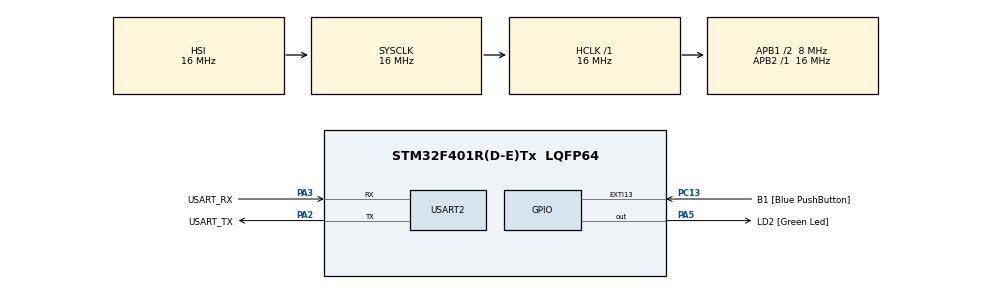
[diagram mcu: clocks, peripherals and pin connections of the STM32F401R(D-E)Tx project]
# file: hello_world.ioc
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Mcu.Family=STM32F4
Mcu.Name=STM32F401R(D-E)Tx
Mcu.Package=LQFP64
NVIC.PriorityGroup=NVIC_PRIORITYGROUP_4
NVIC.TIM5_IRQn=true\:0\:0\:false\:false\:true\:false\:true
NVIC.TimeBase=TIM5_IRQn
NVIC.TimeBaseIP=TIM5
PA13.GPIO_Label=TMS
PA13.Mode=Serial_Wire
PA13.Signal=SYS_JTMS-SWDIO
PA14.GPIO_Label=TCK
PA14.Mode=Serial_Wire
PA14.Signal=SYS_JTCK-SWCLK
PA2.GPIO_Label=USART_TX
PA2.GPIO_Mode=GPIO_MODE_AF_PP
PA2.GPIO_PuPd=GPIO_NOPULL
PA2.GPIO_Speed=GPIO_SPEED_FREQ_LOW
PA2.Mode=Asynchronous
PA2.Signal=USART2_TX
PA3.GPIO_Label=USART_RX
PA3.GPIO_Mode=GPIO_MODE_AF_PP
PA3.GPIO_PuPd=GPIO_NOPULL
PA3.GPIO_Speed=GPIO_SPEED_FREQ_LOW
PA3.Mode=Asynchronous
PA3.Signal=USART2_RX
PA5.GPIO_Label=LD2 [Green Led]
PA5.GPIO_Mode=GPIO_MODE_OUTPUT_PP
PA5.GPIO_PuPd=GPIO_NOPULL
PA5.GPIO_Speed=GPIO_SPEED_FREQ_LOW
PA5.Signal=GPIO_Output
PB3.GPIO_Label=SWO
PB3.Signal=SYS_JTDO-SWO
PC13-ANTI_TAMP.GPIO_Label=B1 [Blue PushButton]
PC13-ANTI_TAMP.GPIO_ModeDefaultEXTI=GPIO_MODE_IT_FALLING
PC13-ANTI_TAMP.GPIO_PuPd=GPIO_NOPULL
PC13-ANTI_TAMP.Signal=GPXTI13
PC14-OSC32_IN.Mode=LSE-External-Oscillator
PC14-OSC32_IN.Signal=RCC_OSC32_IN
PC15-OSC32_OUT.Mode=LSE-External-Oscillator
PC15-OSC32_OUT.Signal=RCC_OSC32_OUT
PH0\ -\ OSC_IN.Mode=HSE-External-Clock-Source
PH0\ -\ OSC_IN.Signal=RCC_OSC_IN
PH1\ -\ OSC_OUT.Mode=HSE-External-Clock-Source
PH1\ -\ OSC_OUT.Signal=RCC_OSC_OUT
ProjectManager.HeapSize=0x200
ProjectManager.StackSize=0x400
ProjectManager.TargetToolchain=STM32CubeIDE
RCC.48MHZClocksFreq_Value=48000000
RCC.AHBFreq_Value=16000000
RCC.APB1CLKDivider=RCC_HCLK_DIV2
RCC.APB1Freq_Value=8000000
RCC.APB1TimFreq_Value=16000000
RCC.APB2Freq_Value=16000000
RCC.APB2TimFreq_Value=16000000
RCC.CortexFreq_Value=16000000
RCC.HCLKFreq_Value=16000000
RCC.HSE_VALUE=8000000
RCC.HSI_VALUE=16000000
RCC.PLLN=336
RCC.PLLP=RCC_PLLP_DIV4
RCC.PLLQ=7
RCC.SYSCLKFreq_VALUE=16000000
RCC.VCOOutputFreq_Value=336000000
USART2.VirtualMode=VM_ASYNC
VP_SYS_VS_tim5.Mode=TIM5
board=NUCLEO-F401RE

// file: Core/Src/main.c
/* USER CODE BEGIN Header */
/**
 ******************************************************************************
 * @file           : main.c
 * @brief          : Main program body
 * @author			: Ashwin Jayakumar Pillai
 ******************************************************************************
 * @attention
 *
 * <h2><center>&copy; Copyright (c) 2021 STMicroelectronics.
 * All rights reserved.</center></h2>
 *
 * This software component is licensed by ST under BSD 3-Clause license,
 * the "License"; You may not use this file except in compliance with the
 * License. You may obtain a copy of the License at:
 *                        opensource.org/licenses/BSD-3-Clause
 *
 ******************************************************************************
 */
/* USER CODE END Header */
#include "main.h"

/* USER CODE BEGIN Includes */
#include <stdio.h>
#include "FreeRTOS.h"
#include "task.h"
/* USER CODE END Includes */

/* USER CODE BEGIN PM */
#define Enable_CCYNT				(*(volatile uint32_t*)0xE0001000)
/* USER CODE END PM */

UART_HandleTypeDef huart2;

void SystemClock_Config(void);
static void MX_GPIO_Init(void);
static void MX_USART2_UART_Init(void);
/* USER CODE BEGIN PFP */
static void task_handler1(void *para);
static void task_handler2(void *para);
/* USER CODE END PFP */

int main(void)
{
  /* USER CODE BEGIN 1 */
	TaskHandle_t task_handle1;
	TaskHandle_t task_handle2;
	BaseType_t stat;
  /* USER CODE END 1 */

  /* MCU Configuration--------------------------------------------------------*/

  /* Reset of all peripherals, Initializes the Flash interface and the Systick. */
  HAL_Init();

  /* Configure the system clock */
  SystemClock_Config();

  /* Initialize all configured peripherals */
  MX_GPIO_Init();
  MX_USART2_UART_Init();
  /* USER CODE BEGIN 2 */

  Enable_CCYNT |= (1 << 0); //Enabling time stamps for SEGGER

  SEGGER_SYSVIEW_Conf();
  SEGGER_SYSVIEW_Start();
	stat = xTaskCreate(task_handler1, "Task-1", 200, "Hello World from Task-1",	\
			2, &task_handle1);
	configASSERT(stat == pdPASS);
	stat = xTaskCreate(task_handler2, "Task-2", 200, "Hello World from Task-2",  \
			2, &task_handle2);
	configASSERT(stat == pdPASS);
    vTaskStartScheduler();
  /* USER CODE END 2 */

  /* Infinite loop */
	while (1) {

	}
}

void SystemClock_Config(void)
{
  RCC_OscInitTypeDef RCC_OscInitStruct = {0};
  RCC_ClkInitTypeDef RCC_ClkInitStruct = {0};

  /** Configure the main internal regulator output voltage
  */
  __HAL_RCC_PWR_CLK_ENABLE();
  __HAL_PWR_VOLTAGESCALING_CONFIG(PWR_REGULATOR_VOLTAGE_SCALE2);
  /** Initializes the RCC Oscillators according to the specified parameters
  * in the RCC_OscInitTypeDef structure.
  */
  RCC_OscInitStruct.OscillatorType = RCC_OSCILLATORTYPE_HSI;
  RCC_OscInitStruct.HSIState = RCC_HSI_ON;
  RCC_OscInitStruct.HSICalibrationValue = RCC_HSICALIBRATION_DEFAULT;
  RCC_OscInitStruct.PLL.PLLState = RCC_PLL_NONE;
  if (HAL_RCC_OscConfig(&RCC_OscInitStruct) != HAL_OK)
  {
    Error_Handler();
  }
  /** Initializes the CPU, AHB and APB buses clocks
  */
  RCC_ClkInitStruct.ClockType = RCC_CLOCKTYPE_HCLK|RCC_CLOCKTYPE_SYSCLK
                              |RCC_CLOCKTYPE_PCLK1|RCC_CLOCKTYPE_PCLK2;
  RCC_ClkInitStruct.SYSCLKSource = RCC_SYSCLKSOURCE_HSI;
  RCC_ClkInitStruct.AHBCLKDivider = RCC_SYSCLK_DIV1;
  RCC_ClkInitStruct.APB1CLKDivider = RCC_HCLK_DIV2;
  RCC_ClkInitStruct.APB2CLKDivider = RCC_HCLK_DIV1;

  if (HAL_RCC_ClockConfig(&RCC_ClkInitStruct, FLASH_LATENCY_0) != HAL_OK)
  {
    Error_Handler();
  }
}

static void MX_USART2_UART_Init(void)
{

  huart2.Instance = USART2;
  huart2.Init.BaudRate = 115200;
  huart2.Init.WordLength = UART_WORDLENGTH_8B;
  huart2.Init.StopBits = UART_STOPBITS_1;
  huart2.Init.Parity = UART_PARITY_NONE;
  huart2.Init.Mode = UART_MODE_TX_RX;
  huart2.Init.HwFlowCtl = UART_HWCONTROL_NONE;
  huart2.Init.OverSampling = UART_OVERSAMPLING_16;
  if (HAL_UART_Init(&huart2) != HAL_OK)
  {
    Error_Handler();
  }

}

static void MX_GPIO_Init(void)
{
  GPIO_InitTypeDef GPIO_InitStruct = {0};

  /* GPIO Ports Clock Enable */
  __HAL_RCC_GPIOC_CLK_ENABLE();
  __HAL_RCC_GPIOH_CLK_ENABLE();
  __HAL_RCC_GPIOA_CLK_ENABLE();
  __HAL_RCC_GPIOB_CLK_ENABLE();

  /*Configure GPIO pin Output Level */
  HAL_GPIO_WritePin(LD2_GPIO_Port, LD2_Pin, GPIO_PIN_RESET);

  /*Configure GPIO pin : B1_Pin */
  GPIO_InitStruct.Pin = B1_Pin;
  GPIO_InitStruct.Mode = GPIO_MODE_IT_FALLING;
  GPIO_InitStruct.Pull = GPIO_NOPULL;
  HAL_GPIO_Init(B1_GPIO_Port, &GPIO_InitStruct);

  /*Configure GPIO pin : LD2_Pin */
  GPIO_InitStruct.Pin = LD2_Pin;
  GPIO_InitStruct.Mode = GPIO_MODE_OUTPUT_PP;
  GPIO_InitStruct.Pull = GPIO_NOPULL;
  GPIO_InitStruct.Speed = GPIO_SPEED_FREQ_LOW;
  HAL_GPIO_Init(LD2_GPIO_Port, &GPIO_InitStruct);

}

/* USER CODE BEGIN 4 */
static void task_handler1(void *para) {
	while (1) {
		printf("%s\n", (char*) para);
	//	taskYIELD();
	}
}

static void task_handler2(void *para) {
	while (1) {
		printf("%s\n", (char*) para);
	//	taskYIELD();
	}
}
/* USER CODE END 4 */

void HAL_TIM_PeriodElapsedCallback(TIM_HandleTypeDef *htim)
{
  if (htim->Instance == TIM5) {
    HAL_IncTick();
  }
}

void Error_Handler(void)
{
	__disable_irq();
	while (1) {
	}
}

/************************ (C) COPYRIGHT STMicroelectronics *****END OF FILE****/
